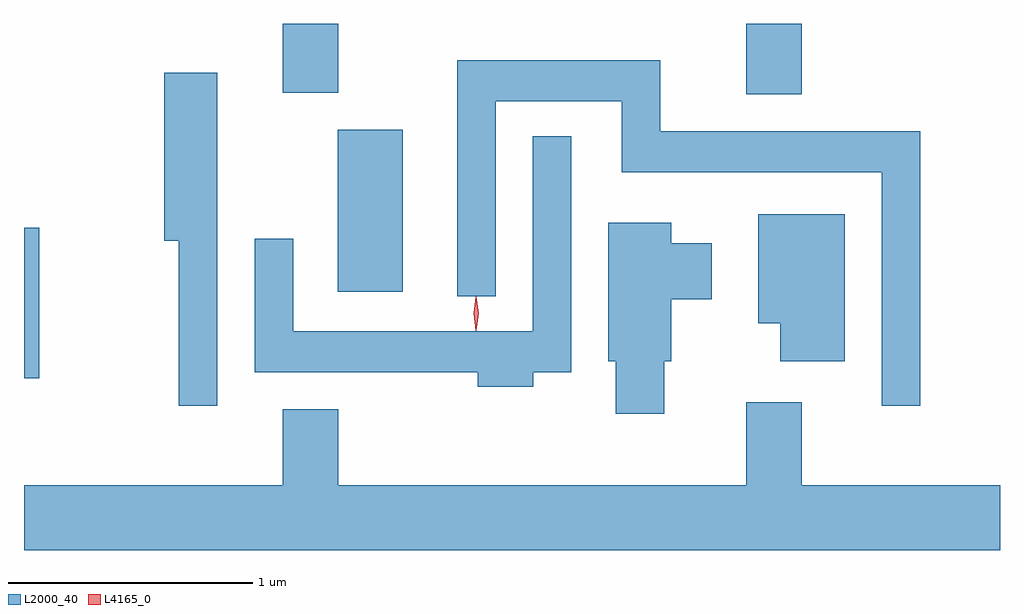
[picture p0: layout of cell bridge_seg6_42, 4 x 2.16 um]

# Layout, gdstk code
import gdstk
lib = gdstk.Library(unit=1e-6, precision=1e-09)
def R(c, l, rs):  # rectangles x0, y0, x1, y1
    for r in rs: c.add(gdstk.rectangle(r[:2], r[2:], *l))
def P(c, l, *ps):  # polygons
    for p in ps: c.add(gdstk.Polygon(p, *l))
L2000_40 = (2000, 40)
L4165_0 = (4165, 0)

bridge_seg6_42 = lib.new_cell('bridge_seg6_42')
R(bridge_seg6_42, L2000_40, [(1482.341,1646.201,1482.404,1646.819), (1483.626,1646.556,1483.894,1647.219), (1485.301,1647.366,1485.529,1647.655), (1483.401,1647.371,1483.629,1647.655)])
P(bridge_seg6_42, L2000_40, [(1486.014,1647.214),(1484.949,1647.214),(1484.949,1647.504),(1484.116,1647.504),(1484.116,1646.538),(1484.274,1646.538),(1484.274,1647.336),(1484.791,1647.336),(1484.791,1647.046),(1485.856,1647.046),(1485.856,1646.088),(1486.014,1646.088)],
  [(1483.134,1647.454),(1482.916,1647.454),(1482.916,1646.766),(1482.976,1646.766),(1482.976,1646.088),(1483.134,1646.088)],
  [(1484.429,1646.226),(1484.584,1646.226),(1484.584,1647.193),(1484.426,1647.193),(1484.426,1646.394),(1483.444,1646.394),(1483.444,1646.773),(1483.286,1646.773),(1483.286,1646.226),(1484.201,1646.226),(1484.201,1646.166),(1484.429,1646.166)],
  [(1485.704,1646.874),(1485.351,1646.874),(1485.351,1646.426),(1485.441,1646.426),(1485.441,1646.271),(1485.704,1646.271)],
  [(1484.964,1646.271),(1484.994,1646.271),(1484.994,1646.526),(1485.159,1646.526),(1485.159,1646.754),(1484.994,1646.754),(1484.994,1646.839),(1484.736,1646.839),(1484.736,1646.271),(1484.766,1646.271),(1484.766,1646.056),(1484.964,1646.056)],
  [(1486.341,1645.764),(1485.529,1645.764),(1485.529,1646.104),(1485.301,1646.104),(1485.301,1645.764),(1483.629,1645.764),(1483.629,1646.074),(1483.401,1646.074),(1483.401,1645.764),(1482.341,1645.764),(1482.341,1645.496),(1486.341,1645.496)])
P(bridge_seg6_42, L4165_0, [(1484.193,1646.397),(1484.184,1646.467),(1484.193,1646.536),(1484.194,1646.536),(1484.194,1646.536),(1484.204,1646.467),(1484.194,1646.397),(1484.194,1646.397)])

lib.write_gds('bridge_seg6_42.gds')
